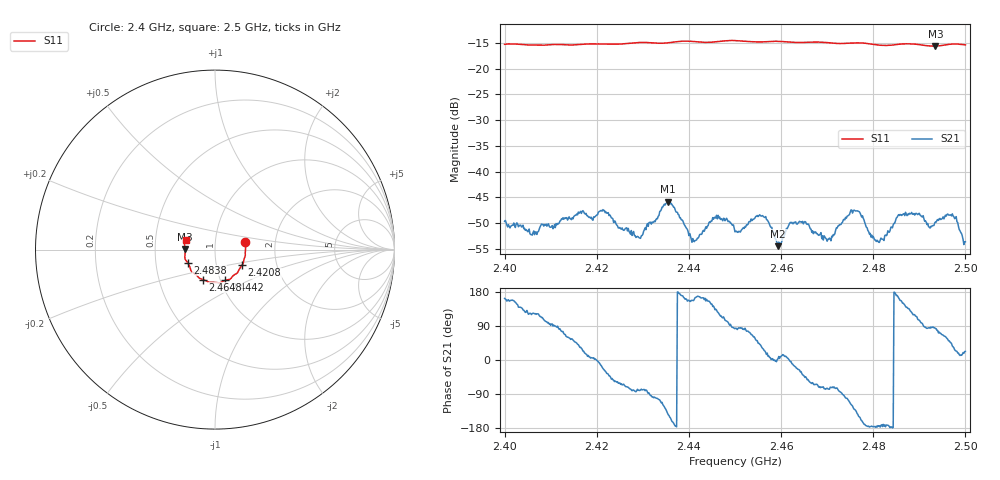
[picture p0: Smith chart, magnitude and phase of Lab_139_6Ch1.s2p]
# Hz S RI R 50
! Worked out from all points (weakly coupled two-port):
!   601 points, 2.4 GHz to 2.5 GHz, reference 50 ohm
!   highest |S21| = -45.87 dB at 2.4355 GHz (marker M1); lowest = -54.5 dB at 2.4593 GHz (marker M2)
!   lowest |S11| = -15.6 dB at 2.4935 GHz (marker M3), VSWR 1.40, Z = 35.8 + j0.202 ohm
!   |S11| at or under -10 dB: start of sweep to end of sweep
!   S12 and S22 are empty: the file has one direction only
!   S11 on the Smith chart (normalised r, x): 2.4 GHz: 1.40, +0.12; 2.4208 GHz: 1.33, -0.24; 2.4442 GHz: 1.05, -0.37; 2.4648 GHz: 0.83, -0.29; 2.4838 GHz: 0.73, -0.11; 2.5 GHz: 0.72, +0.08
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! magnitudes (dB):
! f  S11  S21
! 2.4 GHz  -15.3  -49.7
! 2.406 GHz  -15.4  -52.4
! 2.4167 GHz  -15.2  -48.1
! 2.4208 GHz  -15.2  -47.6
! 2.429 GHz  -14.9  -52.7
! 2.4333 GHz  -15.0  -48.7
! 2.4355 GHz  -15.0  -45.9
! 2.441 GHz  -14.7  -53.5
! 2.4442 GHz  -14.9  -50.5
! 2.45 GHz  -14.5  -51.7
! 2.4558 GHz  -14.8  -48.6
! 2.4593 GHz  -14.7  -54.5
! 2.4648 GHz  -14.9  -50.1
! 2.4667 GHz  -14.8  -51.8
! 2.4703 GHz  -15.0  -53.2
! 2.4762 GHz  -15.0  -47.7
! 2.4808 GHz  -15.4  -53.3
! 2.4833 GHz  -15.5  -51.7
! 2.4838 GHz  -15.4  -50.8
! 2.4935 GHz  -15.6  -49.8
! 2.4975 GHz  -15.2  -48.8
! 2.5 GHz  -15.4  -53.6
